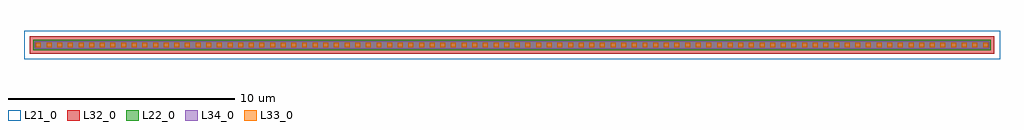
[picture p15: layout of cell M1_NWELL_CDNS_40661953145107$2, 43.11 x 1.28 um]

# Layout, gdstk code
import gdstk
lib = gdstk.Library(unit=1e-6, precision=1e-09)
def R(c, l, rs):  # rectangles x0, y0, x1, y1
    for r in rs: c.add(gdstk.rectangle(r[:2], r[2:], *l))
def A(c, l, x, y, w, h, nx, ny, dx, dy):  # array of equal rectangles
    R(c, l, [(x+i*dx, y+j*dy, x+i*dx+w, y+j*dy+h) for i in range(nx) for j in range(ny)])
L21_0 = (21, 0)
L22_0 = (22, 0)
L32_0 = (32, 0)
L33_0 = (33, 0)
L34_0 = (34, 0)

m1_nwell_cdns_4066195314 = lib.new_cell('M1_NWELL_CDNS_40661953145107$2')
R(m1_nwell_cdns_4066195314, L21_0, [(-21.555,-0.64,21.555,0.64)])
R(m1_nwell_cdns_4066195314, L22_0, [(-21.14,-0.225,21.14,0.225)])
R(m1_nwell_cdns_4066195314, L32_0, [(-21.3,-0.385,21.3,0.385)])
A(m1_nwell_cdns_4066195314, L33_0, -21.025, -0.11, 0.22, 0.22, 90, 1, 0.47, 0)
R(m1_nwell_cdns_4066195314, L34_0, [(-21.085,-0.17,21.085,0.17)])

lib.write_gds('M1_NWELL_CDNS_40661953145107_2.gds')
